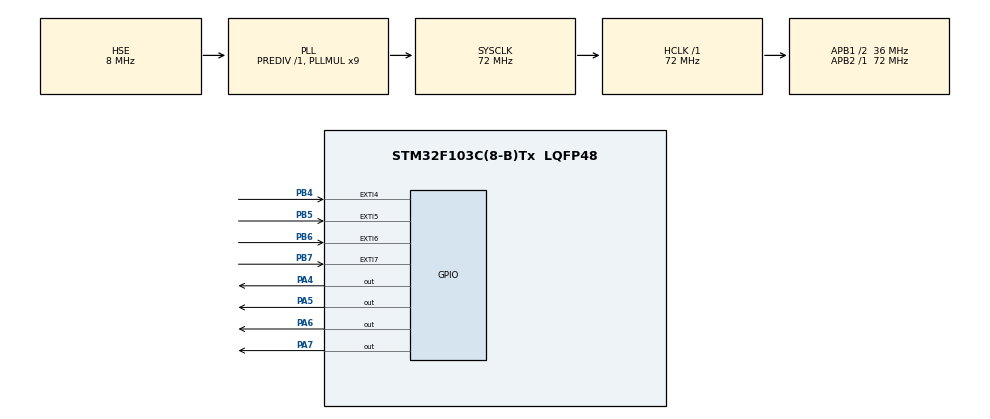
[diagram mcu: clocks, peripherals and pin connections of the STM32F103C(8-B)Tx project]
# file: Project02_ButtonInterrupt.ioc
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Mcu.Family=STM32F1
Mcu.Name=STM32F103C(8-B)Tx
Mcu.Package=LQFP48
NVIC.EXTI4_IRQn=true\:0\:0\:false\:false\:true\:true\:true\:true
NVIC.EXTI9_5_IRQn=true\:0\:0\:false\:false\:true\:true\:true\:true
NVIC.PriorityGroup=NVIC_PRIORITYGROUP_4
PA13.Mode=Serial_Wire
PA13.Signal=SYS_JTMS-SWDIO
PA14.Mode=Serial_Wire
PA14.Signal=SYS_JTCK-SWCLK
PA4.Signal=GPIO_Output
PA5.Signal=GPIO_Output
PA6.Signal=GPIO_Output
PA7.Signal=GPIO_Output
PB4.GPIO_ModeDefaultEXTI=GPIO_MODE_IT_RISING
PB4.GPIO_PuPd=GPIO_PULLUP
PB4.Signal=GPXTI4
PB5.GPIO_ModeDefaultEXTI=GPIO_MODE_IT_RISING
PB5.GPIO_PuPd=GPIO_PULLUP
PB5.Signal=GPXTI5
PB6.GPIO_ModeDefaultEXTI=GPIO_MODE_IT_RISING
PB6.GPIO_PuPd=GPIO_PULLUP
PB6.Signal=GPXTI6
PB7.GPIO_ModeDefaultEXTI=GPIO_MODE_IT_RISING
PB7.GPIO_PuPd=GPIO_PULLUP
PB7.Signal=GPXTI7
PD0-OSC_IN.Mode=HSE-External-Oscillator
PD0-OSC_IN.Signal=RCC_OSC_IN
PD1-OSC_OUT.Mode=HSE-External-Oscillator
PD1-OSC_OUT.Signal=RCC_OSC_OUT
ProjectManager.HeapSize=0x200
ProjectManager.StackSize=0x400
ProjectManager.TargetToolchain=STM32CubeIDE
RCC.AHBFreq_Value=72000000
RCC.APB1CLKDivider=RCC_HCLK_DIV2
RCC.APB1Freq_Value=36000000
RCC.APB1TimFreq_Value=72000000
RCC.APB2Freq_Value=72000000
RCC.APB2TimFreq_Value=72000000
RCC.HCLKFreq_Value=72000000
RCC.PLLMUL=RCC_PLL_MUL9
RCC.PLLSourceVirtual=RCC_PLLSOURCE_HSE
RCC.SYSCLKFreq_VALUE=72000000
RCC.SYSCLKSource=RCC_SYSCLKSOURCE_PLLCLK
RCC.USBFreq_Value=72000000
board=custom

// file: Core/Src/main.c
/* USER CODE BEGIN Header */
/**
  ******************************************************************************
  * @file           : main.c
  * @brief          : Main program body
  ******************************************************************************
  * @attention
  *
  * Copyright (c) 2026 STMicroelectronics.
  * All rights reserved.
  *
  * This software is licensed under terms that can be found in the LICENSE file
  * in the root directory of this software component.
  * If no LICENSE file comes with this software, it is provided AS-IS.
  *
  ******************************************************************************
  */
/* USER CODE END Header */
#include "main.h"

/* USER CODE BEGIN PV */
volatile uint8_t button_flag[4] = {0};
volatile uint32_t last_tick[4] = {0};

const uint16_t pin[4] =
{
    GPIO_PIN_4,
    GPIO_PIN_5,
    GPIO_PIN_6,
    GPIO_PIN_7
};
/* USER CODE END PV */

void SystemClock_Config(void);
static void MX_GPIO_Init(void);

int main(void)
{

  /* MCU Configuration--------------------------------------------------------*/

  /* Reset of all peripherals, Initializes the Flash interface and the Systick. */
  HAL_Init();

  /* Configure the system clock */
  SystemClock_Config();

  /* Initialize all configured peripherals */
  MX_GPIO_Init();

  /* Infinite loop */
  while (1)
  {

  }
}

void SystemClock_Config(void)
{
  RCC_OscInitTypeDef RCC_OscInitStruct = {0};
  RCC_ClkInitTypeDef RCC_ClkInitStruct = {0};

  /** Initializes the RCC Oscillators according to the specified parameters
  * in the RCC_OscInitTypeDef structure.
  */
  RCC_OscInitStruct.OscillatorType = RCC_OSCILLATORTYPE_HSE;
  RCC_OscInitStruct.HSEState = RCC_HSE_ON;
  RCC_OscInitStruct.HSEPredivValue = RCC_HSE_PREDIV_DIV1;
  RCC_OscInitStruct.HSIState = RCC_HSI_ON;
  RCC_OscInitStruct.PLL.PLLState = RCC_PLL_ON;
  RCC_OscInitStruct.PLL.PLLSource = RCC_PLLSOURCE_HSE;
  RCC_OscInitStruct.PLL.PLLMUL = RCC_PLL_MUL9;
  if (HAL_RCC_OscConfig(&RCC_OscInitStruct) != HAL_OK)
  {
    Error_Handler();
  }

  /** Initializes the CPU, AHB and APB buses clocks
  */
  RCC_ClkInitStruct.ClockType = RCC_CLOCKTYPE_HCLK|RCC_CLOCKTYPE_SYSCLK
                              |RCC_CLOCKTYPE_PCLK1|RCC_CLOCKTYPE_PCLK2;
  RCC_ClkInitStruct.SYSCLKSource = RCC_SYSCLKSOURCE_PLLCLK;
  RCC_ClkInitStruct.AHBCLKDivider = RCC_SYSCLK_DIV1;
  RCC_ClkInitStruct.APB1CLKDivider = RCC_HCLK_DIV2;
  RCC_ClkInitStruct.APB2CLKDivider = RCC_HCLK_DIV1;

  if (HAL_RCC_ClockConfig(&RCC_ClkInitStruct, FLASH_LATENCY_2) != HAL_OK)
  {
    Error_Handler();
  }
}

static void MX_GPIO_Init(void)
{
  GPIO_InitTypeDef GPIO_InitStruct = {0};

  /* GPIO Ports Clock Enable */
  __HAL_RCC_GPIOD_CLK_ENABLE();
  __HAL_RCC_GPIOA_CLK_ENABLE();
  __HAL_RCC_GPIOB_CLK_ENABLE();

  /*Configure GPIO pin Output Level */
  HAL_GPIO_WritePin(GPIOA, GPIO_PIN_4|GPIO_PIN_5|GPIO_PIN_6|GPIO_PIN_7, GPIO_PIN_RESET);

  /*Configure GPIO pins : PA4 PA5 PA6 PA7 */
  GPIO_InitStruct.Pin = GPIO_PIN_4|GPIO_PIN_5|GPIO_PIN_6|GPIO_PIN_7;
  GPIO_InitStruct.Mode = GPIO_MODE_OUTPUT_PP;
  GPIO_InitStruct.Pull = GPIO_NOPULL;
  GPIO_InitStruct.Speed = GPIO_SPEED_FREQ_LOW;
  HAL_GPIO_Init(GPIOA, &GPIO_InitStruct);

  /*Configure GPIO pins : PB4 PB5 PB6 PB7 */
  GPIO_InitStruct.Pin = GPIO_PIN_4|GPIO_PIN_5|GPIO_PIN_6|GPIO_PIN_7;
  GPIO_InitStruct.Mode = GPIO_MODE_IT_RISING;
  GPIO_InitStruct.Pull = GPIO_PULLUP;
  HAL_GPIO_Init(GPIOB, &GPIO_InitStruct);

  /* EXTI interrupt init*/
  HAL_NVIC_SetPriority(EXTI4_IRQn, 0, 0);
  HAL_NVIC_EnableIRQ(EXTI4_IRQn);

  HAL_NVIC_SetPriority(EXTI9_5_IRQn, 0, 0);
  HAL_NVIC_EnableIRQ(EXTI9_5_IRQn);

}

/* USER CODE BEGIN 4 */
void HAL_GPIO_EXTI_Callback(uint16_t GPIO_Pin)
{
	static uint32_t last = 0;

	    if(HAL_GetTick() - last < 50)
	        return;

	    last = HAL_GetTick();

	    if(GPIO_Pin == GPIO_PIN_4)
	        HAL_GPIO_TogglePin(GPIOA, GPIO_PIN_4);

	    if(GPIO_Pin == GPIO_PIN_5)
	        HAL_GPIO_TogglePin(GPIOA, GPIO_PIN_5);

	    if(GPIO_Pin == GPIO_PIN_6)
	        HAL_GPIO_TogglePin(GPIOA, GPIO_PIN_6);

	    if(GPIO_Pin == GPIO_PIN_7)
	        HAL_GPIO_TogglePin(GPIOA, GPIO_PIN_7);
}
/* USER CODE END 4 */

void Error_Handler(void)
{
  __disable_irq();
  while (1)
  {
  }
}
